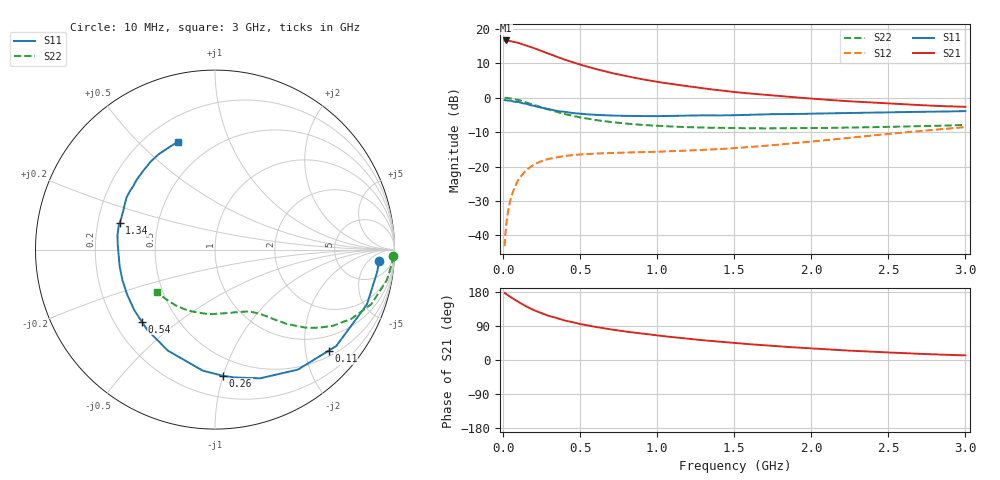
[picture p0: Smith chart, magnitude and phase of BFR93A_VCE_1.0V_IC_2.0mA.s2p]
! Infineon Technologies  Discrete & RF Semiconductors
! BFR93A
! VCE =  1.0 V,  IC =  2.0 mA
! Common Emitter S-Parameters:  Nov 2015
# GHz  S  MA  R  50
!  f  S11  S21  S12  S22
! GHz  MAG  ANG  MAG  ANG  MAG  ANG  MAG  ANG
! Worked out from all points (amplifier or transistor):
!   180 points, 10 MHz to 3 GHz, reference 50 ohm
!   highest |S21| = 16.5 dB at 20 MHz (marker M1)
!   |S21| within 3 dB of that: start of sweep to 245.7 MHz
!   unconditionally stable (mu >= 1): 946.8 MHz to end of sweep
!   at 160 MHz: K = 0.21, MSG = 17.8 dB, |S12| = -20.7 dB
!   at 1.22 GHz: K = 1.15, MAG = 6.9 dB, |S12| = -15.3 dB
!   at 3 GHz: K = 1.04, MAG = 1.7 dB, |S12| = -8.6 dB
!   S11 on the Smith chart (normalised r, x): 10 MHz: 14, -11; 110 MHz: 0.62, -2.49; 260 MHz: 0.36, -1.00; 540 MHz: 0.31, -0.37; 1.34 GHz: 0.29, +0.12; 3 GHz: 0.33, +0.66
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0.01  0.917 -4.0  6.717 177.0  0.007 88.4  0.9924 -2.1
0.02  0.912 -7.9  6.721 174.1  0.014 84.8  0.9903 -4.1
0.035  0.9012 -13.8  6.632 169.9  0.0241 80.5  0.98 -7.1
0.05  0.9001 -19.8  6.58 165.6  0.0342 78.7  0.9724 -10.1
0.1  0.8632 -38.5  6.201 153.0  0.0647 68.4  0.922 -19.3
0.11  0.8474 -41.7  6.082 150.8  0.0693 66.1  0.9068 -20.7
0.15  0.8125 -55.4  5.702 141.3  0.0884 59.3  0.8521 -26.9
0.2  0.7596 -70.8  5.212 131.5  0.1067 52.5  0.7831 -32.8
0.26  0.705 -86.3  4.629 121.6  0.1219 45.8  0.7062 -38.1
0.3  0.6778 -95.8  4.281 115.9  0.1296 42.5  0.6633 -40.9
0.4  0.6209 -115.2  3.539 104.1  0.1424 36.5  0.5757 -46.0
0.52  0.5776 -133.0  2.912 93.6  0.1504 32.3  0.506 -49.9
0.54  0.5721 -135.5  2.83 92.1  0.1513 31.9  0.4974 -50.4
0.6  0.5623 -143.1  2.593 87.3  0.154 30.7  0.4717 -52.1
0.7  0.5497 -153.3  2.281 80.6  0.1572 29.6  0.4412 -54.7
0.8  0.5429 -161.9  2.042 74.8  0.1592 29.5  0.4185 -57.2
1.02  0.5382 -178.0  1.661 63.9  0.1643 30.8  0.3871 -63.1
1.34  0.5512 164.6  1.324 50.6  0.1759 35.1  0.365 -73.7
1.52  0.5557 156.6  1.19 44.2  0.1859 38.1  0.3595 -80.5
2.02  0.5852 137.9  0.959 30.0  0.2317 44.1  0.3614 -100.5
2.52  0.6127 122.7  0.817 19.5  0.2993 44.5  0.3766 -122.0
3  0.6354 109.0  0.733 12.2  0.3728 40.5  0.4012 -144.0
